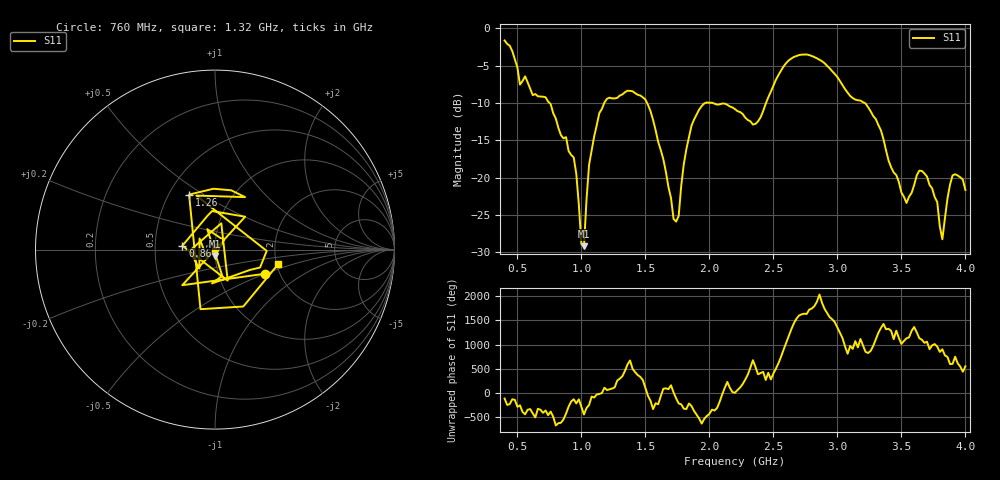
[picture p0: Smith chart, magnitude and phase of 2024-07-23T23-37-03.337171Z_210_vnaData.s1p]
!Created with skrf (http://scikit-rf.org).
# Hz S RI R 50.0
!freq ReS11 ImS11
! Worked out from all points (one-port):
!   181 points, 400 MHz to 4 GHz, reference 50 ohm
!   lowest |S11| = -29.2 dB at 1.02 GHz (marker M1), VSWR 1.07, Z = 50.1 - j3.48 ohm
!   |S11| at or under -10 dB: 750.3 MHz to 1.179 GHz (428.3 MHz wide, 44.4 % of centre); 1.513 GHz to 1.97 GHz (457.3 MHz wide, 26.3 % of centre); 3.211 GHz to end of sweep (the widest 3 of 4)
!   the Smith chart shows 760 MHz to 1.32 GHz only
!   S11 on the Smith chart (normalised r, x): 760 MHz: 1.68, -0.50; 860 MHz: 0.69, +0.03; 1.26 GHz: 0.63, +0.44; 1.32 GHz: 2.03, -0.39
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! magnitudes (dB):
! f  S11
! 400 MHz  -1.6
! 520 MHz  -7.5
! 760 MHz  -10.2
! 860 MHz  -14.7
! 940 MHz  -17.3
! 1 GHz  -28.9
! 1.02 GHz  -29.2
! 1.06 GHz  -18.3
! 1.1 GHz  -14.5
! 1.26 GHz  -9.4
! 1.3 GHz  -9.0
! 1.32 GHz  -8.9
! 1.52 GHz  -10.2
! 1.72 GHz  -25.5
! 1.76 GHz  -25.1
! 1.82 GHz  -16.2
! 1.92 GHz  -10.9
! 2.2 GHz  -10.8
! 2.36 GHz  -12.8
! 2.66 GHz  -3.9
! 3.1 GHz  -9.1
! 3.3 GHz  -12.2
! 3.56 GHz  -22.5
! 3.7 GHz  -19.9
! 3.78 GHz  -23.3
! 3.82 GHz  -28.3
! 3.9 GHz  -19.7
! 4 GHz  -21.7
